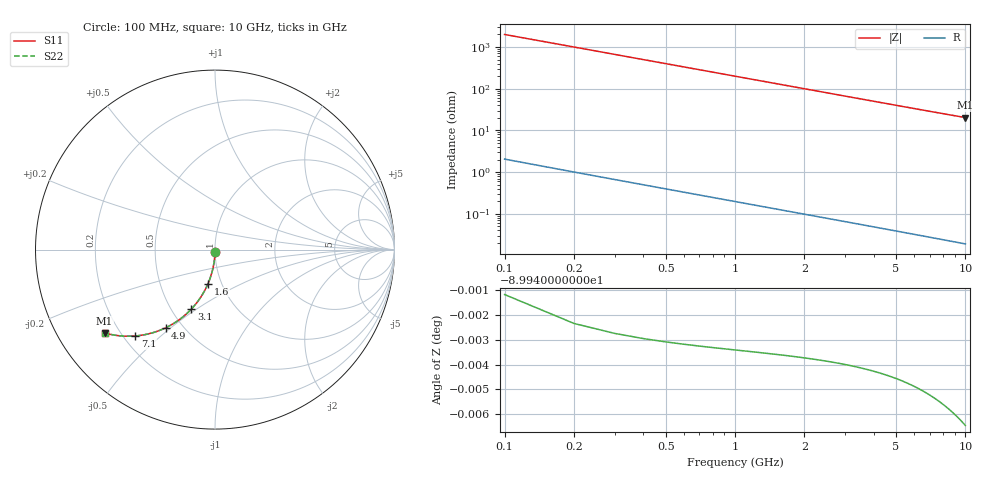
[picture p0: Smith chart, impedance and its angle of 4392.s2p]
# Hz S RI R 50.00
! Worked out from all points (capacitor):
!   100 points, 100 MHz to 10 GHz, reference 50 ohm
!   read as one part in shunt: C = 797 fF near 100 MHz
!   lowest |Z| = 20.3 ohm at 10 GHz (marker M1)
!   S11 on the Smith chart (normalised r, x): 100 MHz: 1.00, -0.02; 1.6 GHz: 0.86, -0.34; 3.1 GHz: 0.63, -0.48; 4.9 GHz: 0.40, -0.48; 7.1 GHz: 0.25, -0.42; 10 GHz: 0.14, -0.33
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1e8  -0.000131 -0.0123  0.9998 -0.0127  0.9998 -0.0127  -0.000131 -0.0123
2e8  -0.000613 -0.0246  0.9993 -0.0254  0.9993 -0.0254  -0.000613 -0.0246
3e8  -0.00141 -0.0369  0.9985 -0.0381  0.9985 -0.0381  -0.00141 -0.0369
4e8  -0.00251 -0.0491  0.9974 -0.0508  0.9974 -0.0508  -0.00251 -0.0491
5e8  -0.00393 -0.0613  0.996 -0.0634  0.996 -0.0634  -0.00393 -0.0613
6e8  -0.00565 -0.0734  0.9943 -0.076  0.9943 -0.076  -0.00565 -0.0734
7e8  -0.00767 -0.0855  0.9922 -0.0884  0.9922 -0.0884  -0.00767 -0.0855
9e8  -0.0126 -0.1094  0.9873 -0.1132  0.9873 -0.1132  -0.0126 -0.1094
1.2e9  -0.0222 -0.1444  0.9777 -0.1495  0.9777 -0.1495  -0.0222 -0.1444
1.6e9  -0.0388 -0.1893  0.9611 -0.196  0.9611 -0.196  -0.0388 -0.1893
1.8e9  -0.0486 -0.2108  0.9513 -0.2183  0.9513 -0.2183  -0.0486 -0.2108
2.4e9  -0.0832 -0.2707  0.9167 -0.2808  0.9167 -0.2808  -0.0832 -0.2707
3.1e9  -0.1315 -0.331  0.8683 -0.3441  0.8683 -0.3441  -0.1315 -0.331
3.4e9  -0.1542 -0.3535  0.8456 -0.3679  0.8456 -0.3679  -0.1542 -0.3535
4.1e9  -0.2097 -0.398  0.7901 -0.4154  0.7901 -0.4154  -0.2097 -0.398
4.9e9  -0.2751 -0.4357  0.7246 -0.4566  0.7246 -0.4566  -0.2751 -0.4357
5.1e9  -0.2914 -0.4431  0.7083 -0.4648  0.7083 -0.4648  -0.2914 -0.4431
5.9e9  -0.3553 -0.4655  0.6443 -0.4908  0.6443 -0.4908  -0.3553 -0.4655
6.7e9  -0.4159 -0.478  0.5836 -0.5068  0.5836 -0.5068  -0.4159 -0.478
7.1e9  -0.4445 -0.4811  0.555 -0.5117  0.555 -0.5117  -0.4445 -0.4811
8.4e9  -0.529 -0.4804  0.4702 -0.5169  0.4702 -0.5169  -0.529 -0.4804
1e10  -0.6152 -0.464  0.3838 -0.5078  0.3838 -0.5078  -0.6152 -0.464
